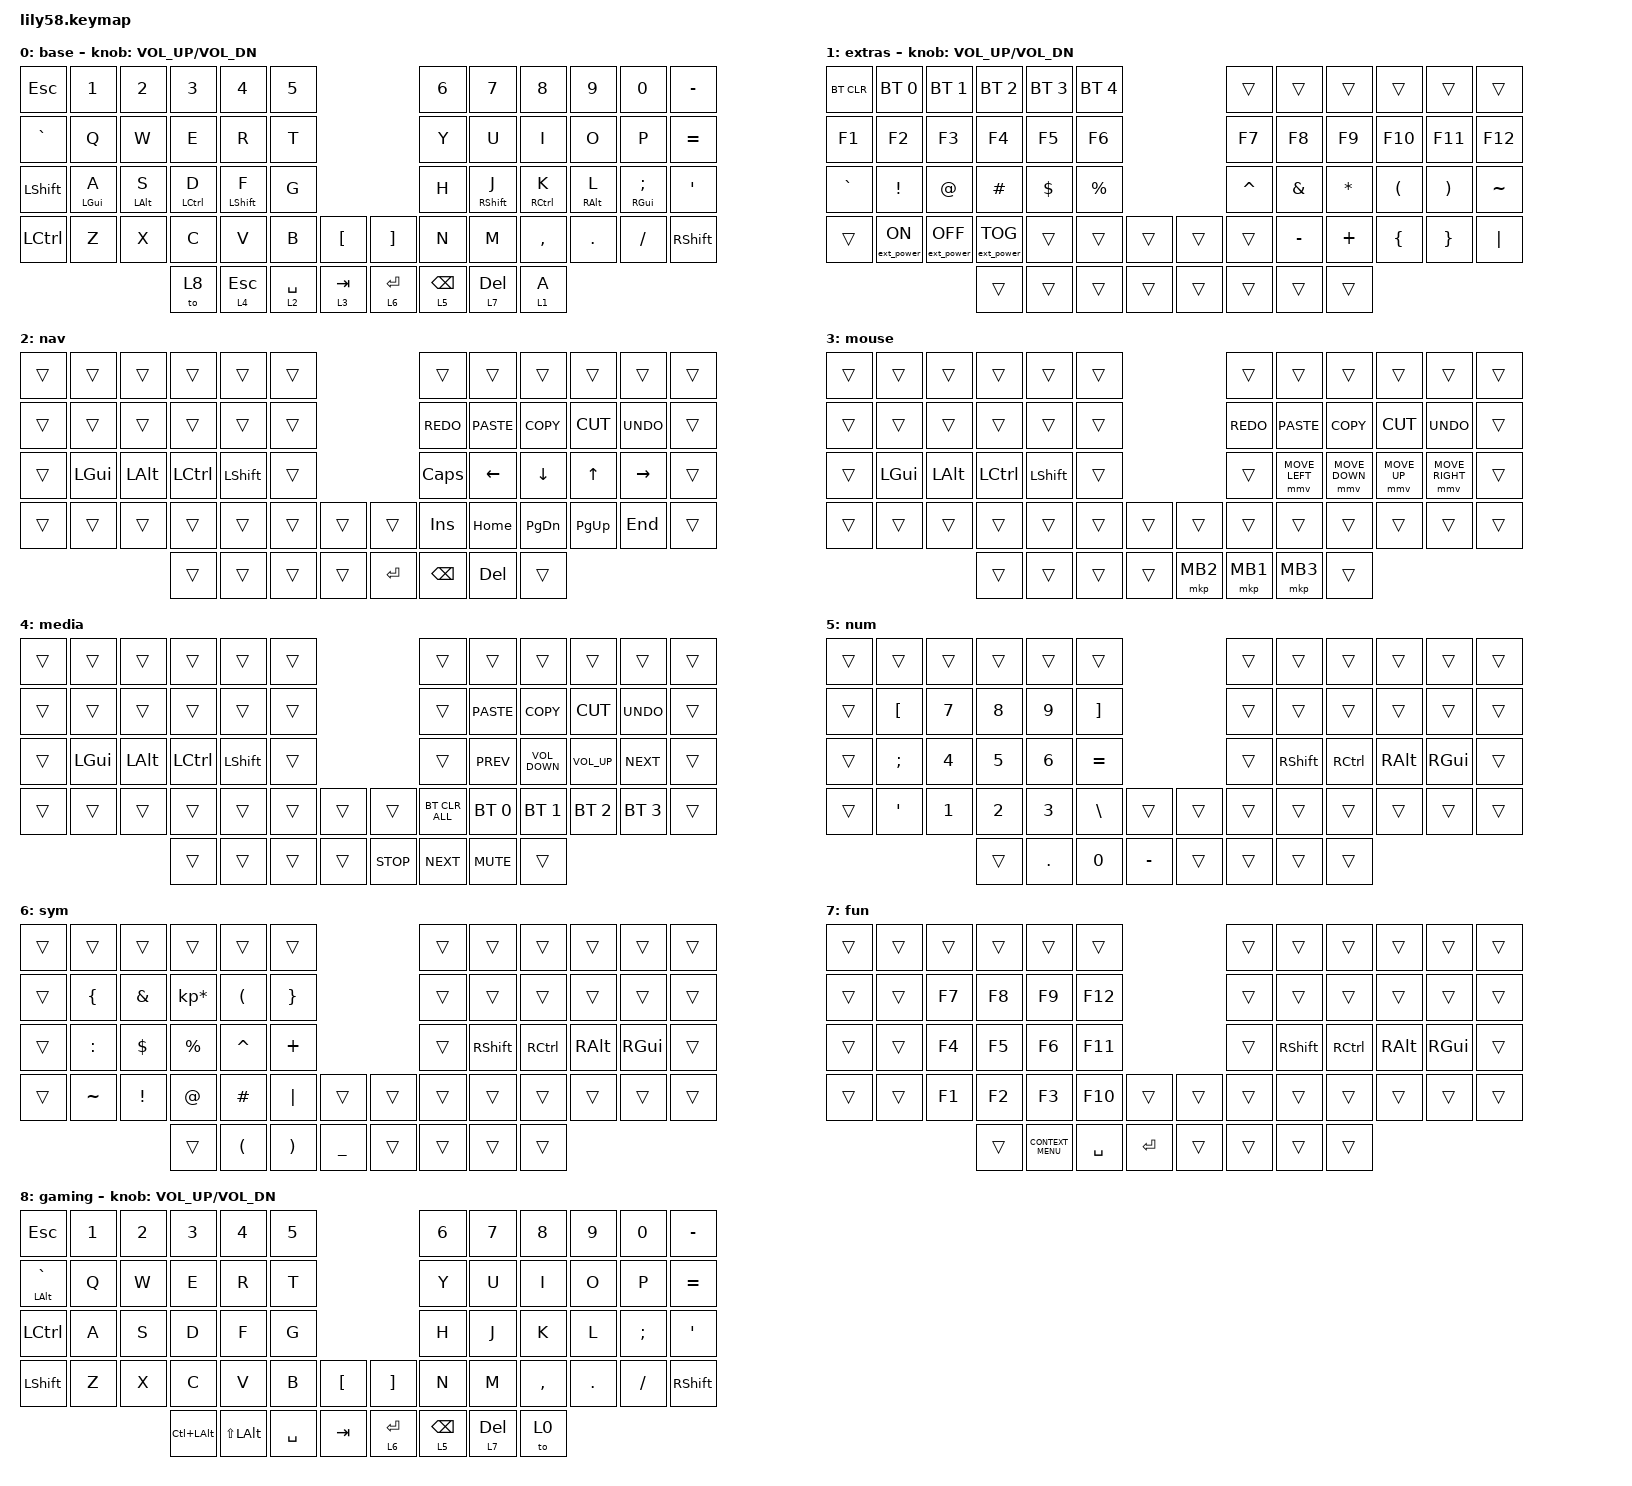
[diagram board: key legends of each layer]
/*
 * Copyright (c) 2020 The ZMK Contributors
 *
 * SPDX-License-Identifier: MIT
 */

#include <behaviors.dtsi>
#include <dt-bindings/zmk/bt.h>
#include <dt-bindings/zmk/ext_power.h>
#include <dt-bindings/zmk/keys.h>
#include <dt-bindings/zmk/pointing.h>

&mt {
    tapping-term-ms = <280>;
    quick-tap-ms = <175>;
    require-prior-idle-ms = <150>;
    flavor = "balanced";
};

/ {
    behaviors {
        hm: homerow_mods {
            compatible = "zmk,behavior-hold-tap";
            label = "HOMEROW_MODS";
            bindings = <&kp>, <&kp>;

            #binding-cells = <2>;
            tapping-term-ms = <200>;
            quick-tap-ms = <180>;
            flavor = "tap-preferred";
            require-prior-idle-ms = <0>;
        };

        para: para {
            compatible = "zmk,behavior-tap-dance";
            label = "PARA";
            #binding-cells = <0>;
            bindings = <&kp LEFT_PARENTHESIS>, <&kp RIGHT_PARENTHESIS>;

            tapping-term-ms = <0>;
        };

        caps: caps {
            compatible = "zmk,behavior-caps-word";
            label = "CAPS";
            #binding-cells = <0>;
            continue-list = <MINUS BACKSPACE>;
        };

        paraless: paraless {
            compatible = "zmk,behavior-mod-morph";
            label = "PARALESS";
            bindings = <&kp LEFT_PARENTHESIS>, <&kp LESS_THAN>;

            #binding-cells = <0>;
            mods = <(MOD_LSFT)>;
        };

        paragreat: paragreat {
            compatible = "zmk,behavior-mod-morph";
            label = "PARAGREAT";
            bindings = <&kp RIGHT_PARENTHESIS>, <&kp GREATER_THAN>;

            #binding-cells = <0>;
            mods = <(MOD_LSFT)>;
        };
    };

    keymap {
        compatible = "zmk,keymap";

        base {
            // ------------------------------------------------------------------------------------------------------------
            // |  ESC  |  1  |  2  |  3   |  4   |  5   |                   |  6   |  7    |  8    |  9   |   0   |   `   |
            // |  TAB  |  Q  |  W  |  E   |  R   |  T   |                   |  Y   |  U    |  I    |  O   |   P   |   -   |
            // |  CTRL |  A  |  S  |  D   |  F   |  G   |                   |  H   |  J    |  K    |  L   |   ;   |   '   |
            // | SHIFT |  Z  |  X  |  C   |  V   |  B   |   "["  |  |  "]"  |  N   |  M    |  ,    |  .   |   /   | SHIFT |
            //                     | ALT  | GUI  | LOWER|  SPACE |  | ENTER | RAISE| BSPC  | GUI   |

            bindings = <
&kp ESC           &kp N1          &kp N2          &kp N3              &kp N4            &kp N5                                 &kp N6           &kp N7             &kp N8               &kp N9           &kp N0              &kp MINUS
&kp GRAVE         &kp Q           &kp W           &kp E               &kp R             &kp T                                  &kp Y            &kp U              &kp I                &kp O            &kp P               &kp EQUAL
&kp LEFT_SHIFT    &mt LEFT_GUI A  &mt LEFT_ALT S  &mt LEFT_CONTROL D  &mt LEFT_SHIFT F  &kp G                                  &kp H            &mt RIGHT_SHIFT J  &mt RIGHT_CONTROL K  &mt RIGHT_ALT L  &mt RIGHT_GUI SEMI  &kp SQT
&kp LEFT_CONTROL  &kp Z           &kp X           &kp C               &kp V             &kp B        &kp LBKT     &kp RBKT     &kp N            &kp M              &kp COMMA            &kp DOT          &kp FSLH            &kp RSHFT
                                                  &to 8               &lt 4 ESC         &lt 2 SPACE  &lt 3 TAB    &lt 6 ENTER  &lt 5 BACKSPACE  &lt 7 DEL          &lt 1 A
            >;

            sensor-bindings = <&inc_dec_kp C_VOL_UP C_VOL_DN>;
        };

        extras {
            // ------------------------------------------------------------------------------------------------------------
            // | BTCLR | BT1 | BT2 |  BT3 |  BT4 |  BT5 |                   |      |       |       |      |       |       |
            // |  F1   |  F2 |  F3 |  F4  |  F5  |  F6  |                   |  F7  |  F8   |  F9   |  F10 |  F11  |  F12  |
            // |   `   |  !  |  @  |  #   |  $   |  %   |                   |  ^   |  &    |  *    |  (   |   )   |   ~   |
            // |       |     |     |      |      |      |        |  |       |      |  _    |  +    |  {   |   }   |  "|"  |
            //                     |      |      |      |        |  |       |      |       |       |

            bindings = <
&bt BT_CLR  &bt BT_SEL 0      &bt BT_SEL 1       &bt BT_SEL 2       &bt BT_SEL 3  &bt BT_SEL 4                    &trans     &trans     &trans     &trans    &trans    &trans
&kp F1      &kp F2            &kp F3             &kp F4             &kp F5        &kp F6                          &kp F7     &kp F8     &kp F9     &kp F10   &kp F11   &kp F12
&kp GRAVE   &kp EXCL          &kp AT             &kp HASH           &kp DOLLAR    &kp PRCNT                       &kp CARET  &kp AMPS   &kp ASTRK  &kp LPAR  &kp RPAR  &kp TILDE
&trans      &ext_power EP_ON  &ext_power EP_OFF  &ext_power EP_TOG  &trans        &trans        &trans    &trans  &trans     &kp MINUS  &kp PLUS   &kp LBRC  &kp RBRC  &kp PIPE
                                                 &trans             &trans        &trans        &trans    &trans  &trans     &trans     &trans
            >;

            sensor-bindings = <&inc_dec_kp C_VOL_UP C_VOL_DN>;
        };

        nav {
            bindings = <
&trans  &trans    &trans    &trans     &trans     &trans                       &trans      &trans       &trans         &trans        &trans      &trans
&trans  &trans    &trans    &trans     &trans     &trans                       &kp K_REDO  &kp K_PASTE  &kp K_COPY     &kp K_CUT     &kp K_UNDO  &trans
&trans  &kp LGUI  &kp LALT  &kp LCTRL  &kp LSHFT  &trans                       &kp CAPS    &kp LEFT     &kp DOWN       &kp UP_ARROW  &kp RIGHT   &trans
&trans  &trans    &trans    &trans     &trans     &trans  &trans    &trans     &kp INS     &kp HOME     &kp PAGE_DOWN  &kp PAGE_UP   &kp END     &trans
                            &trans     &trans     &trans  &trans    &kp ENTER  &kp BSPC    &kp DELETE   &trans
            >;
        };

        mouse {
            bindings = <
&trans  &trans    &trans    &trans     &trans     &trans                      &trans      &trans          &trans          &trans        &trans           &trans
&trans  &trans    &trans    &trans     &trans     &trans                      &kp K_REDO  &kp K_PASTE     &kp K_COPY      &kp K_CUT     &kp K_UNDO       &trans
&trans  &kp LGUI  &kp LALT  &kp LCTRL  &kp LSHFT  &trans                      &trans      &mmv MOVE_LEFT  &mmv MOVE_DOWN  &mmv MOVE_UP  &mmv MOVE_RIGHT  &trans
&trans  &trans    &trans    &trans     &trans     &trans  &trans    &trans    &trans      &trans          &trans          &trans        &trans           &trans
                            &trans     &trans     &trans  &trans    &mkp MB2  &mkp MB1    &mkp MB3        &trans
            >;
        };

        media {
            bindings = <
&trans  &trans    &trans    &trans     &trans     &trans                        &trans          &trans        &trans             &trans           &trans        &trans
&trans  &trans    &trans    &trans     &trans     &trans                        &trans          &kp K_PASTE   &kp K_COPY         &kp K_CUT        &kp K_UNDO    &trans
&trans  &kp LGUI  &kp LALT  &kp LCTRL  &kp LSHFT  &trans                        &trans          &kp K_PREV    &kp C_VOLUME_DOWN  &kp C_VOLUME_UP  &kp C_NEXT    &trans
&trans  &trans    &trans    &trans     &trans     &trans  &trans    &trans      &bt BT_CLR_ALL  &bt BT_SEL 0  &bt BT_SEL 1       &bt BT_SEL 2     &bt BT_SEL 3  &trans
                            &trans     &trans     &trans  &trans    &kp K_STOP  &kp K_NEXT      &kp K_MUTE    &trans
            >;
        };

        num {
            bindings = <
&trans  &trans    &trans  &trans  &trans   &trans                          &trans  &trans     &trans     &trans    &trans    &trans
&trans  &kp LBKT  &kp N7  &kp N8  &kp N9   &kp RBKT                        &trans  &trans     &trans     &trans    &trans    &trans
&trans  &kp SEMI  &kp N4  &kp N5  &kp N6   &kp EQUAL                       &trans  &kp RSHFT  &kp RCTRL  &kp RALT  &kp RGUI  &trans
&trans  &kp APOS  &kp N1  &kp N2  &kp N3   &kp BSLH   &trans       &trans  &trans  &trans     &trans     &trans    &trans    &trans
                          &trans  &kp DOT  &kp N0     &kp MINUS    &trans  &trans  &trans     &trans
            >;
        };

        sym {
            bindings = <
&trans  &trans          &trans         &trans           &trans                &trans                                      &trans  &trans     &trans     &trans    &trans    &trans
&trans  &kp LEFT_BRACE  &kp AMPERSAND  &kp KP_MULTIPLY  &kp LEFT_PARENTHESIS  &kp RIGHT_BRACE                             &trans  &trans     &trans     &trans    &trans    &trans
&trans  &kp COLON       &kp DOLLAR     &kp PERCENT      &kp CARET             &kp PLUS                                    &trans  &kp RSHFT  &kp RCTRL  &kp RALT  &kp RGUI  &trans
&trans  &kp TILDE       &kp EXCL       &kp AT           &kp POUND             &kp PIPE               &trans       &trans  &trans  &trans     &trans     &trans    &trans    &trans
                                       &trans           &kp LEFT_PARENTHESIS  &kp RIGHT_PARENTHESIS  &kp UNDER    &trans  &trans  &trans     &trans
            >;
        };

        fun {
            bindings = <
&trans  &trans  &trans  &trans  &trans              &trans                          &trans  &trans     &trans     &trans    &trans    &trans
&trans  &trans  &kp F7  &kp F8  &kp F9              &kp F12                         &trans  &trans     &trans     &trans    &trans    &trans
&trans  &trans  &kp F4  &kp F5  &kp F6              &kp F11                         &trans  &kp RSHFT  &kp RCTRL  &kp RALT  &kp RGUI  &trans
&trans  &trans  &kp F1  &kp F2  &kp F3              &kp F10    &trans       &trans  &trans  &trans     &trans     &trans    &trans    &trans
                        &trans  &kp K_CONTEXT_MENU  &kp SPACE  &kp ENTER    &trans  &trans  &trans     &trans
            >;
        };

        gaming {
            bindings = <
&kp ESC             &kp N1  &kp N2  &kp N3            &kp N4            &kp N5                              &kp N6           &kp N7     &kp N8     &kp N9   &kp N0         &kp MINUS
&mt LEFT_ALT GRAVE  &kp Q   &kp W   &kp E             &kp R             &kp T                               &kp Y            &kp U      &kp I      &kp O    &kp P          &kp EQUAL
&kp LCTRL           &kp A   &kp S   &kp D             &kp F             &kp G                               &kp H            &kp J      &kp K      &kp L    &kp SEMICOLON  &kp SQT
&kp LSHFT           &kp Z   &kp X   &kp C             &kp V             &kp B      &kp LBKT    &kp RBKT     &kp N            &kp M      &kp COMMA  &kp DOT  &kp FSLH       &kp RSHFT
                                    &kp LC(LEFT_ALT)  &kp LS(LEFT_ALT)  &kp SPACE  &kp TAB     &lt 6 ENTER  &lt 5 BACKSPACE  &lt 7 DEL  &to 0
            >;

            sensor-bindings = <&inc_dec_kp C_VOL_UP C_VOL_DN>;
        };
    };
};
